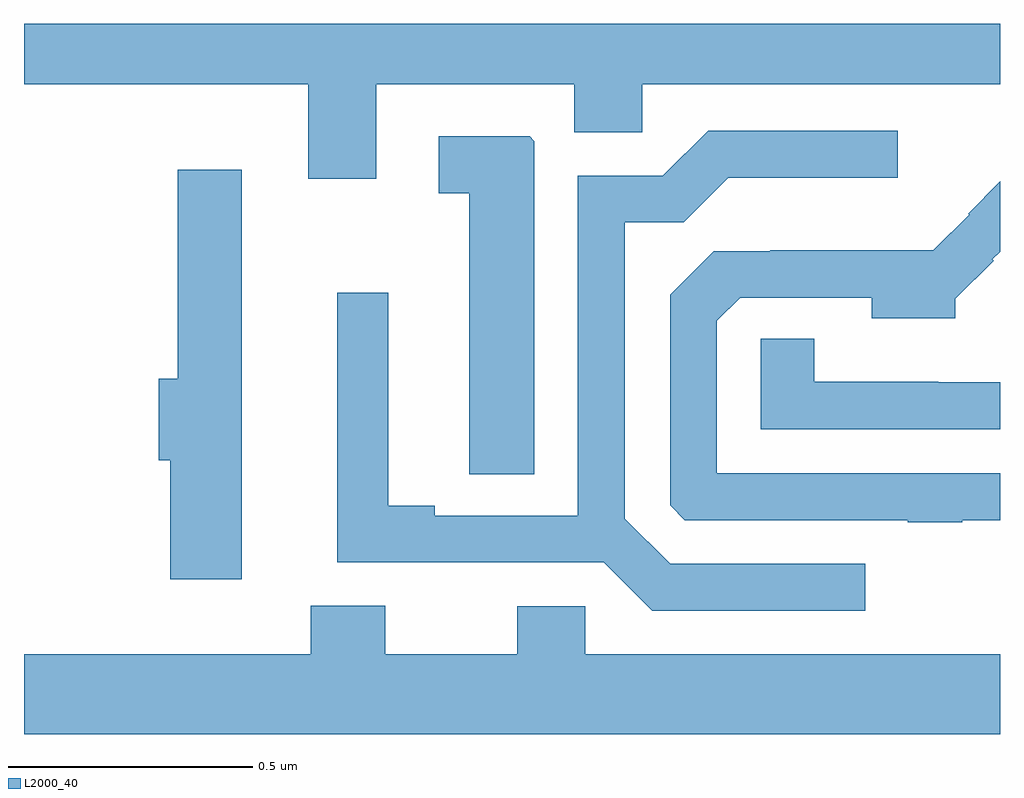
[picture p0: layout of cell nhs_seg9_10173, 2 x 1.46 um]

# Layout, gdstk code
import gdstk
lib = gdstk.Library(unit=1e-6, precision=1e-09)
def P(c, l, *ps):  # polygons
    for p in ps: c.add(gdstk.Polygon(p, *l))
L2000_40 = (2000, 40)

nhs_seg9_10173 = lib.new_cell('nhs_seg9_10173')
P(nhs_seg9_10173, L2000_40, [(239.722,1240.376),(240.128,1240.376),(240.128,1240.278),(240.267,1240.278),(240.267,1240.376),(241,1240.376),(241,1240.5),(239,1240.5),(239,1240.376),(239.582,1240.376),(239.582,1240.182),(239.722,1240.182)],
  [(240.724,1239.393),(240.324,1239.393),(240.231,1239.486),(240.231,1240.093),(240.352,1240.093),(240.443,1240.184),(240.79,1240.184),(240.79,1240.281),(240.402,1240.281),(240.309,1240.188),(240.135,1240.188),(240.135,1239.492),(239.842,1239.492),(239.842,1239.512),(239.746,1239.512),(239.746,1239.949),(239.642,1239.949),(239.642,1239.396),(240.188,1239.396),(240.287,1239.297),(240.724,1239.297)],
  [(240.046,1240.259),(240.036,1240.269),(239.85,1240.269),(239.85,1240.153),(239.912,1240.153),(239.912,1239.577),(240.046,1239.577)],
  [(239.446,1240.201),(239.315,1240.201),(239.315,1239.773),(239.276,1239.773),(239.276,1239.606),(239.3,1239.606),(239.3,1239.362),(239.446,1239.362)],
  [(240.923,1239.483),(241,1239.483),(241,1239.579),(240.42,1239.579),(240.42,1239.891),(240.468,1239.939),(240.737,1239.939),(240.737,1239.896),(240.908,1239.896),(240.908,1239.936),(240.987,1240.014),(240.984,1240.017),(241,1240.033),(241,1240.177),(240.935,1240.111),(240.937,1240.109),(240.863,1240.036),(240.529,1240.036),(240.529,1240.034),(240.413,1240.034),(240.324,1239.945),(240.324,1239.513),(240.354,1239.483),(240.811,1239.483),(240.811,1239.478),(240.923,1239.478)],
  [(241,1239.765),(240.873,1239.765),(240.873,1239.766),(240.619,1239.766),(240.619,1239.854),(240.51,1239.854),(240.51,1239.669),(241,1239.669)],
  [(241,1239.208),(240.15,1239.208),(240.15,1239.306),(240.011,1239.306),(240.011,1239.208),(239.74,1239.208),(239.74,1239.307),(239.588,1239.307),(239.588,1239.208),(239,1239.208),(239,1239.044),(241,1239.044)])

lib.write_gds('nhs_seg9_10173.gds')
